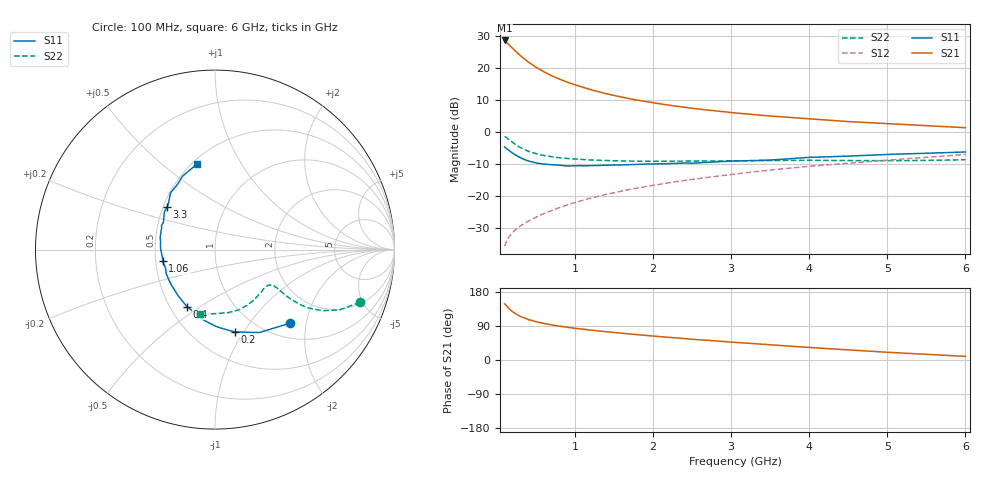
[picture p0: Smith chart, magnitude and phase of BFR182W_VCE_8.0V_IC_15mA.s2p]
! Infineon Technologies  Discrete & RF Semiconductors
! BFR182W
! VCE =  8.0 V,  IC =  15 mA
! Common Emitter S-Parameters:  Nov 2015
# GHz  S  MA  R  50
!  f  S11  S21  S12  S22
! GHz  MAG  ANG  MAG  ANG  MAG  ANG  MAG  ANG
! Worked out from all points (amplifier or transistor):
!   192 points, 100 MHz to 6 GHz, reference 50 ohm
!   highest |S21| = 28.7 dB at 100 MHz (marker M1)
!   |S21| within 3 dB of that: start of sweep to 224.8 MHz
!   unconditionally stable (mu >= 1): 891.7 MHz to 2.781 GHz
!   at 440 MHz: K = 0.80, MSG = 24.4 dB, |S12| = -27.4 dB
!   at 1.7 GHz: K = 1.05, MAG = 12.9 dB, |S12| = -18.0 dB
!   at 6 GHz: K = 0.80, MSG = 4.2 dB, |S12| = -7.0 dB
!   S11 on the Smith chart (normalised r, x): 100 MHz: 1.30, -1.62; 200 MHz: 0.78, -0.92; 400 MHz: 0.61, -0.44; 1.06 GHz: 0.55, -0.07; 3.3 GHz: 0.52, +0.28; 6 GHz: 0.53, +0.66
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0.1  0.5862 -44.3  27.19 148.3  0.0163 71.5  0.8592 -20.0
0.15  0.524 -61.9  23.71 136.6  0.0222 67.2  0.7695 -25.9
0.2  0.4719 -76.5  20.6 127.5  0.0265 64.2  0.6889 -29.6
0.24  0.4375 -86.1  18.45 122.2  0.0297 63.2  0.6354 -31.3
0.26  0.4235 -90.6  17.49 119.7  0.0311 62.9  0.6123 -32.0
0.3  0.3983 -98.8  15.75 115.2  0.0337 62.7  0.5731 -32.8
0.4  0.3537 -116.3  12.57 106.9  0.0399 63.2  0.5016 -33.2
0.5  0.3295 -128.4  10.39 101.1  0.0463 64.7  0.4579 -32.8
0.6  0.3153 -139.0  8.822 96.5  0.0526 65.7  0.4288 -32.3
0.7  0.308 -146.6  7.635 92.6  0.0589 67.0  0.4097 -31.8
0.8  0.3027 -153.9  6.759 89.3  0.0652 67.8  0.3956 -31.8
0.9  0.2937 -159.9  6.031 86.4  0.0721 68.4  0.385 -31.5
1.06  0.2969 -167.9  5.217 82.4  0.0827 69.1  0.3738 -32.1
1.1  0.2966 -169.7  5.041 81.5  0.0854 69.2  0.3711 -32.3
1.2  0.2971 -174.1  4.607 78.9  0.0922 69.5  0.3645 -32.7
1.5  0.3051 176.1  3.74 72.5  0.1121 69.7  0.3547 -34.9
2.08  0.3178 160.7  2.773 61.9  0.1516 69.0  0.3485 -40.4
3.1  0.3529 141.9  1.967 45.9  0.2234 65.5  0.3551 -54.0
3.3  0.3577 138.8  1.873 43.1  0.2387 64.6  0.3561 -57.3
4.1  0.4043 126.5  1.581 31.8  0.2971 60.2  0.3599 -70.5
5.1  0.4505 112.5  1.334 19.3  0.37 54.5  0.3564 -88.6
6  0.4873 102.2  1.168 9.6  0.4451 49.3  0.3683 -102.7
